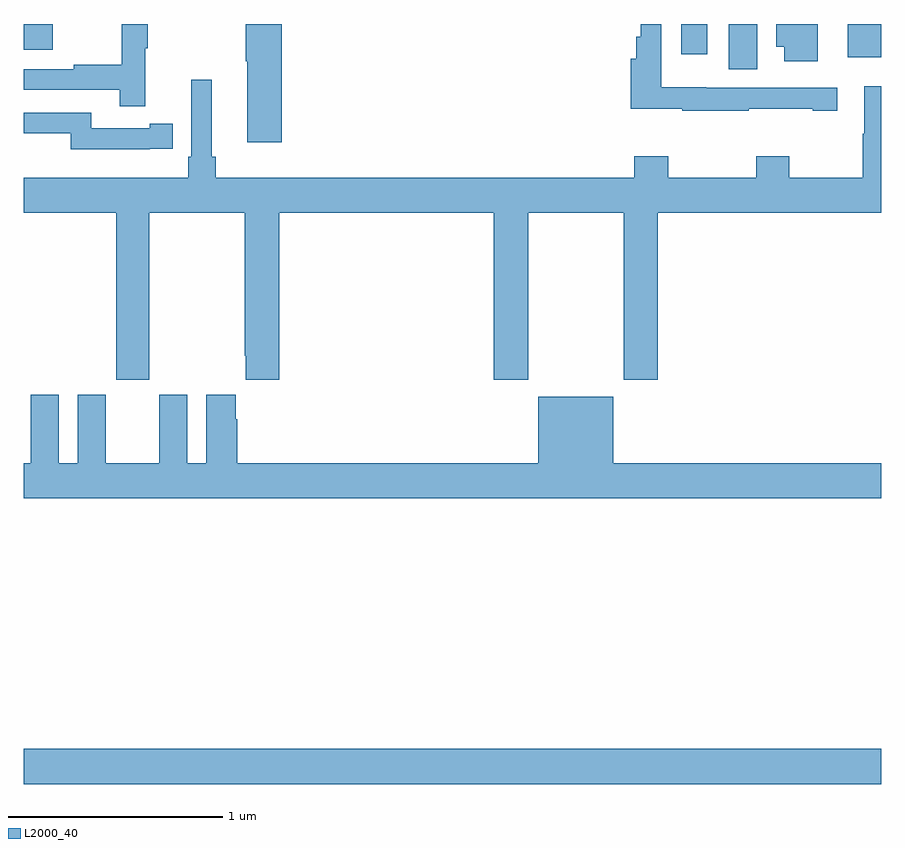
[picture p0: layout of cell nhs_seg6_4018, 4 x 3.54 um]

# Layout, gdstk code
import gdstk
lib = gdstk.Library(unit=1e-6, precision=1e-09)
def R(c, l, rs):  # rectangles x0, y0, x1, y1
    for r in rs: c.add(gdstk.rectangle(r[:2], r[2:], *l))
def P(c, l, *ps):  # polygons
    for p in ps: c.add(gdstk.Polygon(p, *l))
L2000_40 = (2000, 40)

nhs_seg6_4018 = lib.new_cell('nhs_seg6_4018')
R(nhs_seg6_4018, L2000_40, [(347,993.956,351,994.12), (350.288,997.288,350.422,997.5), (350.843,997.346,351,997.5), (350.066,997.359,350.188,997.5), (347,997.379,347.137,997.5)])
P(nhs_seg6_4018, L2000_40, [(348.203,997.5),(348.037,997.5),(348.037,997.327),(348.044,997.327),(348.044,996.948),(348.203,996.948)],
  [(350.704,997.5),(350.51,997.5),(350.51,997.394),(350.546,997.394),(350.546,997.326),(350.704,997.326)],
  [(347.567,997.387),(347.578,997.387),(347.578,997.5),(347.457,997.5),(347.457,997.31),(347.233,997.31),(347.233,997.29),(347,997.29),(347,997.194),(347.449,997.194),(347.449,997.116),(347.567,997.116)],
  [(350.381,997.105),(350.681,997.105),(350.681,997.095),(350.794,997.095),(350.794,997.203),(350.184,997.203),(350.184,997.204),(349.974,997.204),(349.974,997.5),(349.878,997.5),(349.878,997.44),(349.858,997.44),(349.858,997.339),(349.832,997.339),(349.832,997.105),(350.071,997.105),(350.071,997.095),(350.381,997.095)],
  [(347.586,996.62),(348.031,996.62),(348.031,995.953),(348.035,995.953),(348.035,995.841),(348.191,995.841),(348.191,996.62),(349.193,996.62),(349.193,995.841),(349.353,995.841),(349.353,996.62),(349.798,996.62),(349.798,995.841),(349.958,995.841),(349.958,996.62),(351,996.62),(351,997.21),(350.921,997.21),(350.921,996.989),(350.914,996.989),(350.914,996.784),(350.571,996.784),(350.571,996.883),(350.416,996.883),(350.416,996.784),(350.007,996.784),(350.007,996.883),(349.847,996.883),(349.847,996.784),(347.897,996.784),(347.897,996.88),(347.878,996.88),(347.878,997.24),(347.781,997.24),(347.781,996.88),(347.768,996.88),(347.768,996.784),(347,996.784),(347,996.62),(347.431,996.62),(347.431,995.841),(347.586,995.841)],
  [(347.588,996.918),(347.696,996.918),(347.696,997.034),(347.588,997.034),(347.588,997.014),(347.316,997.014),(347.316,997.086),(347,997.086),(347,996.99),(347.22,996.99),(347.22,996.917),(347.588,996.917)],
  [(351,995.452),(349.75,995.452),(349.75,995.761),(349.4,995.761),(349.4,995.452),(347.996,995.452),(347.996,995.657),(347.989,995.657),(347.989,995.77),(347.852,995.77),(347.852,995.452),(347.764,995.452),(347.764,995.77),(347.633,995.77),(347.633,995.452),(347.383,995.452),(347.383,995.77),(347.252,995.77),(347.252,995.452),(347.164,995.452),(347.164,995.77),(347.033,995.77),(347.033,995.452),(347,995.452),(347,995.288),(351,995.288)])

lib.write_gds('nhs_seg6_4018.gds')
